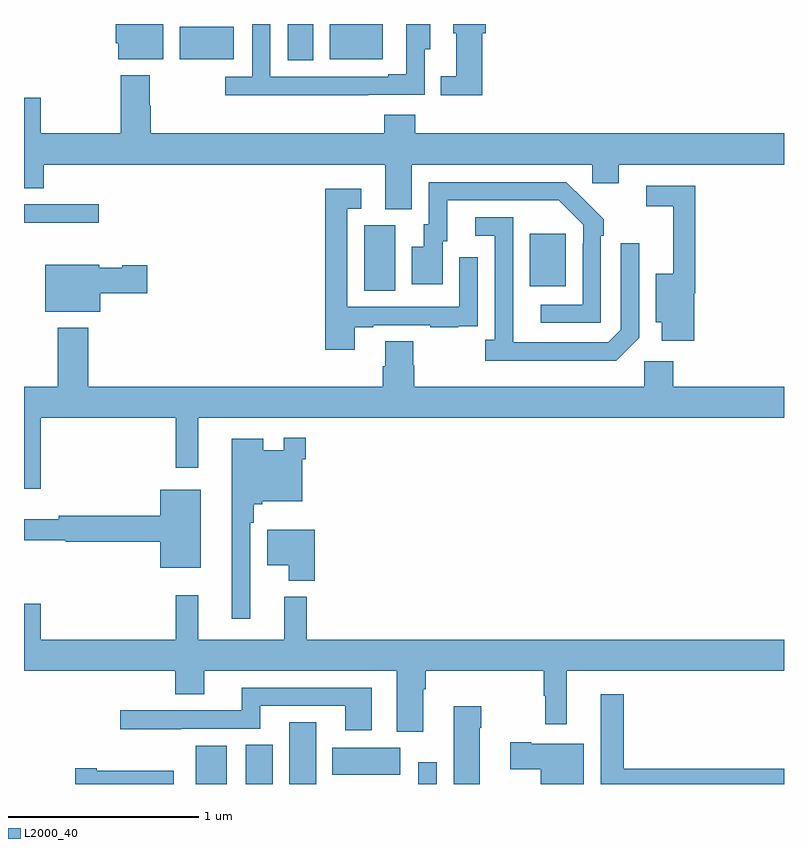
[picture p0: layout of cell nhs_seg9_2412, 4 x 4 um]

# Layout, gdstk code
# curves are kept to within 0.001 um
import gdstk
lib = gdstk.Library(unit=1e-6, precision=1e-09)
def R(c, l, rs):  # rectangles x0, y0, x1, y1
    for r in rs: c.add(gdstk.rectangle(r[:2], r[2:], *l))
def P(c, l, *ps):  # polygons
    for p in ps: c.add(gdstk.Polygon(p, *l))
L2000_40 = (2000, 40)

nhs_seg9_2412 = lib.new_cell('nhs_seg9_2412')
R(nhs_seg9_2412, L2000_40, [(249.905,1186.5,250.066,1186.702), (250.166,1186.5,250.309,1186.706), (250.397,1186.5,250.537,1186.826), (251.076,1186.5,251.172,1186.615), (250.622,1186.55,250.981,1186.69), (250.79,1189.096,250.954,1189.44), (251.663,1189.121,251.851,1189.396), (250.388,1190.308,250.522,1190.5), (249.821,1190.315,250.105,1190.485), (250.61,1190.315,250.888,1190.5)])
P(nhs_seg9_2412, L2000_40, [(249.733,1190.5),(249.482,1190.5),(249.482,1190.4),(249.497,1190.4),(249.497,1190.315),(249.733,1190.315)],
  [(250.811,1190.127),(251.109,1190.127),(251.109,1190.367),(251.137,1190.367),(251.137,1190.5),(251.013,1190.5),(251.013,1190.236),(250.916,1190.236),(250.916,1190.223),(250.296,1190.223),(250.296,1190.5),(250.2,1190.5),(250.2,1190.223),(250.059,1190.223),(250.059,1190.126),(250.811,1190.126)],
  [(251.411,1190.451),(251.429,1190.451),(251.429,1190.5),(251.258,1190.5),(251.258,1190.451),(251.276,1190.451),(251.276,1190.226),(251.194,1190.226),(251.194,1190.126),(251.411,1190.126)],
  [(249,1190.113),(249,1189.636),(249.104,1189.636),(249.104,1189.76),(250.901,1189.76),(250.901,1189.525),(251.041,1189.525),(251.041,1189.76),(251.991,1189.76),(251.991,1189.662),(252.13,1189.662),(252.13,1189.76),(253,1189.76),(253,1189.924),(251.06,1189.924),(251.06,1190.023),(250.895,1190.023),(250.895,1189.924),(249.668,1189.924),(249.668,1190.069),(249.663,1190.069),(249.663,1190.23),(249.508,1190.23),(249.508,1189.924),(249.088,1189.924),(249.088,1190.113)],
  [(252.036,1189.385),(252.051,1189.385),(252.051,1189.473),(251.854,1189.668),(251.13,1189.668),(251.13,1189.446),(251.105,1189.446),(251.105,1189.327),(251.042,1189.327),(251.042,1189.131),(251.203,1189.131),(251.203,1189.356),(251.227,1189.356),(251.227,1189.572),(251.815,1189.572),(251.943,1189.443),(251.943,1189.343),(251.94,1189.343),(251.94,1189.023),(251.721,1189.023),(251.721,1188.927),(252.036,1188.927)],
  [(252.527,1189.082),(252.533,1189.082),(252.533,1189.65),(252.276,1189.65),(252.276,1189.542),(252.416,1189.542),(252.416,1189.186),(252.326,1189.186),(252.326,1188.929),(252.356,1188.929),(252.356,1188.834),(252.527,1188.834)],
  [(250.741,1188.903),(250.837,1188.903),(250.837,1188.915),(251.137,1188.915),(251.137,1188.903),(251.285,1188.903),(251.285,1188.909),(251.387,1188.909),(251.387,1189.018),(251.388,1189.018),(251.388,1189.273),(251.292,1189.273),(251.292,1189.011),(250.701,1189.011),(250.701,1189.527),(250.774,1189.527),(250.774,1189.633),(250.585,1189.633),(250.585,1188.786),(250.741,1188.786)],
  [(249.394,1189.551),(249,1189.551),(249,1189.455),(249.073,1189.455),(249.073,1189.453),(249.394,1189.453)],
  [(252.237,1188.849),(252.237,1189.345),(252.141,1189.345),(252.141,1188.891),(252.075,1188.825),(251.575,1188.825),(251.574,1189.482),(251.376,1189.482),(251.376,1189.386),(251.478,1189.386),(251.478,1188.838),(251.427,1188.838),(251.427,1188.728),(252.116,1188.728)],
  [(249.4,1189.082),(249.649,1189.082),(249.649,1189.229),(249.516,1189.229),(249.516,1189.216),(249.396,1189.216),(249.396,1189.234),(249.113,1189.234),(249.113,1188.986),(249.4,1188.986)],
  [(249.088,1188.428),(249.799,1188.428),(249.799,1188.165),(249.917,1188.165),(249.917,1188.428),(253,1188.428),(253,1188.592),(252.416,1188.592),(252.416,1188.724),(252.264,1188.724),(252.264,1188.592),(251.054,1188.592),(251.054,1188.705),(251.049,1188.705),(251.049,1188.83),(250.901,1188.83),(250.901,1188.698),(250.889,1188.698),(250.889,1188.592),(249.338,1188.592),(249.338,1188.901),(249.178,1188.901),(249.178,1188.592),(249,1188.592),(249,1188.054),(249.088,1188.054)],
  [(250.191,1187.876),(250.209,1187.876),(250.209,1187.972),(250.254,1187.972),(250.254,1187.987),(250.464,1187.987),(250.464,1188.209),(250.484,1188.209),(250.484,1188.322),(250.368,1188.322),(250.368,1188.256),(250.258,1188.256),(250.258,1188.316),(250.094,1188.316),(250.094,1187.37),(250.191,1187.37)],
  [(249.931,1188.049),(249.716,1188.049),(249.716,1187.912),(249.184,1187.912),(249.184,1187.893),(249,1187.893),(249,1187.784),(249.22,1187.784),(249.22,1187.776),(249.716,1187.776),(249.716,1187.639),(249.931,1187.639)],
  [(250.529,1187.839),(250.281,1187.839),(250.281,1187.651),(250.394,1187.651),(250.394,1187.57),(250.529,1187.57)],
  [(251.101,1187),(251.114,1187),(251.114,1187.096),(251.736,1187.096),(251.736,1186.964),(251.743,1186.964),(251.743,1186.815),(251.857,1186.815),(251.857,1187.096),(253,1187.096),(253,1187.26),(250.487,1187.26),(250.487,1187.485),(250.37,1187.485),(250.37,1187.26),(249.917,1187.26),(249.917,1187.494),(249.799,1187.494),(249.799,1187.26),(249.088,1187.26),(249.088,1187.449),(249,1187.449),(249,1187.096),(249.797,1187.096),(249.797,1186.972),(249.949,1186.972),(249.949,1187.096),(250.961,1187.096),(250.961,1186.776),(251.101,1186.776)],
  [(250.831,1187.007),(250.145,1187.007),(250.145,1186.887),(249.507,1186.887),(249.507,1186.789),(249.827,1186.789),(249.827,1186.791),(250.243,1186.791),(250.243,1186.911),(250.691,1186.911),(250.691,1186.782),(250.831,1186.782)],
  [(253,1186.58),(252.157,1186.58),(252.157,1186.972),(252.035,1186.972),(252.035,1186.5),(253,1186.5)],
  [(251.398,1186.796),(251.406,1186.796),(251.406,1186.909),(251.261,1186.909),(251.261,1186.5),(251.398,1186.5)],
  [(251.947,1186.711),(251.671,1186.711),(251.671,1186.719),(251.559,1186.719),(251.559,1186.577),(251.72,1186.577),(251.72,1186.5),(251.947,1186.5)],
  [(249.787,1186.57),(249.382,1186.57),(249.382,1186.583),(249.27,1186.583),(249.27,1186.5),(249.787,1186.5)])

lib.write_gds('nhs_seg9_2412.gds')
